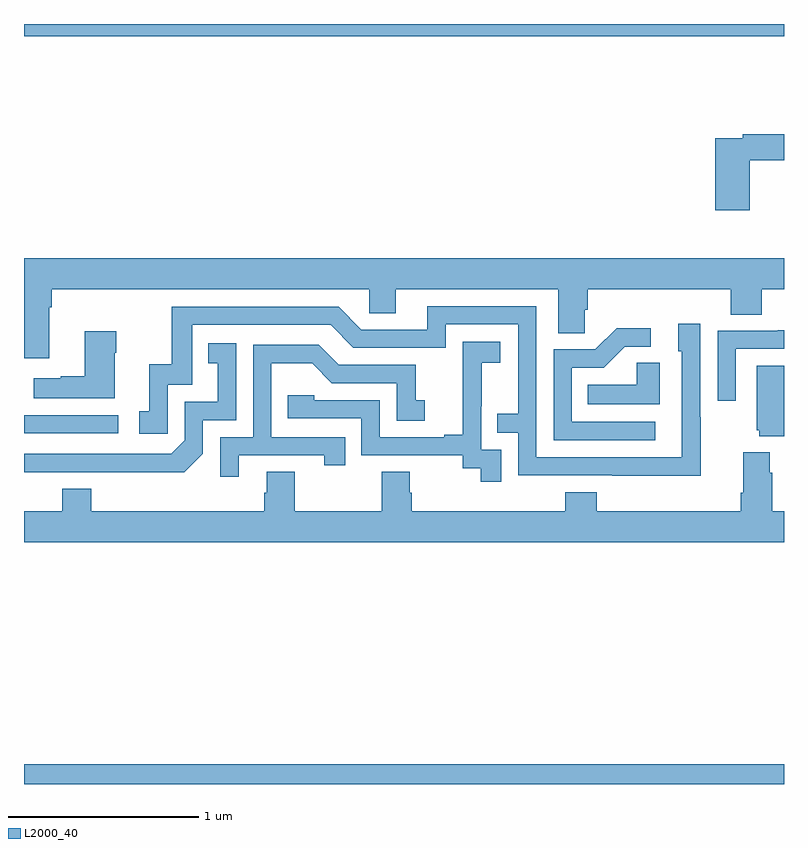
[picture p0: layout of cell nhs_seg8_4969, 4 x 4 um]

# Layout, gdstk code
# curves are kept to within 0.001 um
import gdstk
lib = gdstk.Library(unit=1e-6, precision=1e-09)
def R(c, l, rs):  # rectangles x0, y0, x1, y1
    for r in rs: c.add(gdstk.rectangle(r[:2], r[2:], *l))
def P(c, l, *ps):  # polygons
    for p in ps: c.add(gdstk.Polygon(p, *l))
L2000_40 = (2000, 40)

nhs_seg8_4969 = lib.new_cell('nhs_seg8_4969')
R(nhs_seg8_4969, L2000_40, [(411,1109.9,415,1110.004), (411,1111.746,411.496,1111.842), (411,1113.836,415,1113.9)])
P(nhs_seg8_4969, L2000_40, [(414.821,1113.184),(415,1113.184),(415,1113.32),(414.784,1113.32),(414.784,1113.3),(414.638,1113.3),(414.638,1112.919),(414.821,1112.919)],
  [(411.133,1112.408),(411.146,1112.408),(411.146,1112.504),(412.818,1112.504),(412.818,1112.377),(412.957,1112.377),(412.957,1112.504),(413.813,1112.504),(413.813,1112.272),(413.952,1112.272),(413.952,1112.395),(413.966,1112.395),(413.966,1112.504),(414.719,1112.504),(414.719,1112.371),(414.884,1112.371),(414.884,1112.504),(415,1112.504),(415,1112.668),(411,1112.668),(411,1112.142),(411.133,1112.142)],
  [(414.561,1111.829),(414.558,1111.829),(414.558,1112.323),(414.443,1112.323),(414.443,1112.178),(414.462,1112.178),(414.462,1111.62),(413.697,1111.62),(413.697,1112.415),(413.123,1112.415),(413.123,1112.292),(412.776,1112.292),(412.656,1112.412),(411.777,1112.412),(411.777,1112.11),(411.659,1112.11),(411.659,1111.863),(411.606,1111.863),(411.606,1111.743),(411.756,1111.743),(411.756,1112.001),(411.885,1112.001),(411.885,1112.316),(412.614,1112.316),(412.734,1112.196),(413.22,1112.196),(413.22,1112.319),(413.601,1112.319),(413.601,1111.85),(413.491,1111.85),(413.491,1111.749),(413.601,1111.749),(413.601,1111.524),(414.561,1111.523)],
  [(414.322,1111.806),(413.883,1111.806),(413.883,1112.091),(414.052,1112.091),(414.163,1112.202),(414.298,1112.202),(414.298,1112.3),(414.119,1112.3),(414.006,1112.187),(413.787,1112.187),(413.787,1111.71),(414.322,1111.71)],
  [(414.747,1112.19),(415,1112.19),(415,1112.288),(414.967,1112.288),(414.967,1112.286),(414.651,1112.286),(414.651,1111.917),(414.747,1111.917)],
  [(411.478,1112.171),(411.486,1112.171),(411.486,1112.284),(411.32,1112.284),(411.32,1112.045),(411.194,1112.045),(411.194,1112.035),(411.051,1112.035),(411.051,1111.931),(411.478,1111.931)],
  [(413.511,1111.659),(413.406,1111.659),(413.406,1111.889),(413.408,1111.889),(413.408,1112.117),(413.506,1112.117),(413.506,1112.227),(413.308,1112.227),(413.308,1112.021),(413.309,1112.021),(413.309,1111.738),(413.213,1111.738),(413.213,1111.725),(412.872,1111.725),(412.872,1111.92),(412.527,1111.92),(412.527,1111.947),(412.387,1111.947),(412.387,1111.824),(412.776,1111.824),(412.776,1111.629),(413.31,1111.629),(413.31,1111.561),(413.403,1111.561),(413.403,1111.491),(413.511,1111.491)],
  [(411.942,1111.638),(411.942,1111.815),(412.116,1111.815),(412.116,1112.221),(411.97,1112.221),(411.97,1112.115),(412.019,1112.115),(412.019,1111.911),(411.846,1111.911),(411.846,1111.71),(411.774,1111.638),(411,1111.638),(411,1111.542),(411.844,1111.541)],
  [(412.129,1111.629),(412.58,1111.629),(412.58,1111.578),(412.691,1111.578),(412.691,1111.725),(412.302,1111.725),(412.302,1112.114),(412.516,1112.114),(412.62,1112.01),(412.962,1112.01),(412.962,1111.812),(413.11,1111.812),(413.11,1111.921),(413.061,1111.921),(413.061,1112.106),(412.657,1112.106),(412.552,1112.211),(412.206,1112.211),(412.206,1111.725),(412.032,1111.725),(412.032,1111.518),(412.129,1111.518)],
  [(414.346,1112.117),(414.225,1112.117),(414.225,1112.002),(413.968,1112.002),(413.968,1111.898),(414.346,1111.898)],
  [(415,1112.101),(414.857,1112.101),(414.857,1111.761),(414.869,1111.761),(414.869,1111.73),(415,1111.73)],
  [(415,1111.336),(414.938,1111.336),(414.938,1111.538),(414.925,1111.538),(414.925,1111.645),(414.785,1111.645),(414.785,1111.432),(414.773,1111.432),(414.773,1111.336),(414.014,1111.336),(414.014,1111.435),(413.849,1111.435),(413.849,1111.336),(413.042,1111.336),(413.042,1111.434),(413.029,1111.434),(413.029,1111.544),(412.882,1111.544),(412.882,1111.336),(412.425,1111.336),(412.425,1111.544),(412.277,1111.544),(412.277,1111.434),(412.265,1111.434),(412.265,1111.336),(411.353,1111.336),(411.353,1111.453),(411.2,1111.453),(411.2,1111.336),(411,1111.336),(411,1111.172),(415,1111.172)])

lib.write_gds('nhs_seg8_4969.gds')
